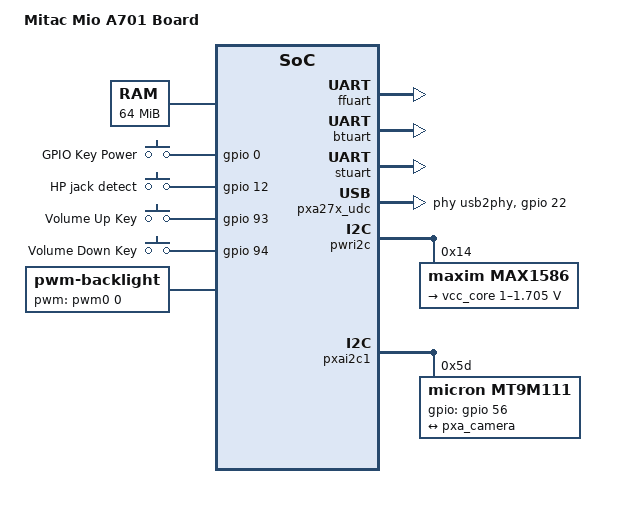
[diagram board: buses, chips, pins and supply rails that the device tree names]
/*
 *  Copyright (C) Robert Jarzmik <robert.jarzmik@free.fr>
 *
 *  This program is free software; you can redistribute it and/or modify
 *  it under the terms of the GNU General Public License version 2 as
 *  publishhed by the Free Software Foundation.
 */

/dts-v1/;
#include "pxa27x.dtsi"
#include "include/dt-bindings/gpio/gpio.h"
#include "include/dt-bindings/clock/pxa-clock.h"

/ {
	model = "Mitac Mio A701 Board";
	/* compatible = "mitac,mioa701"; */
	compatible = "marvell,pxa270";

	chosen {
		bootargs = "mtdparts=docg3.0:256k@3456k(barebox)ro,256k(barebox-logo),128k(barebox-env),4M(kernel),-(root) ubi.mtd=4 rootfstype=ubifs root=ubi0:linux_root ro";
	};

	memory {
		reg = <0xa0000000 0x04000000>;

		reserved-memory {
			#address-cells = <1>;
			#size-cells = <1>;

			pstore_region:region@0xa2000000 {
				compatible = "linux,contiguous-memory-region";
				reg = <0xa2000000 1048576>;
			};
		};
	};

	cpus {
		cpu {
			cpu-supply = <&vcc_core>;
		};
	};

	pxabus {
		gpio: gpio@40e00000 {
			status = "okay";
		};

		ffuart: uart@40100000 {
			status = "okay";
		};

		btuart: uart@40200000 {
			status = "okay";
		};

		stuart: uart@40700000 {
			status = "okay";
		};

		usb2phy: gpio-vbus@13 {
			compatible = "usb-nop-xceiv";
			vbus-detect-gpio = <&gpio 13 GPIO_ACTIVE_LOW>;
			wakeup;
		};

		pxa27x_udc: udc@40600000 {
			    status = "okay";
			    gpios = <&gpio 22 0>;
			    phys = <&usb2phy>;
			    phys-names = "usb2phy";
		};

		pwri2c: i2c@40f000180 {
			status = "okay";

			max1586@14 {
				compatible = "maxim,max1586";
				reg = <0x14>;
				v3-gain = <1000000>;

				regulators {
					vcc_core: v3 {
						regulator-name = "vcc_core";
						regulator-compatible = "Output_V3";
						regulator-min-microvolt = <1000000>;
						regulator-max-microvolt = <1705000>;
						regulator-always-on;
					};
				};
			};
		};

		pxai2c1: i2c@40301680 {
			mrvl,i2c-fast-mode;
			status = "okay";

			mt9m111: camera@5d {
				compatible = "micron,mt9m111";
				reg = <0x5d>;
				gpios = <&gpio 56 GPIO_ACTIVE_HIGH>;

				remote = <&pxa_camera>;
				port {
					mt9m111_1: endpoint {
						bus-width = <8>;
						remote-endpoint = <&pxa_camera>;
					};
				};
			};
		};

		keypad: keypad@41500000 {
			status = "okay";

			keypad,num-rows = <3>;
			keypad,num-columns = <3>;
			linux,keymap = <
				0x00000067	/* KEY_UP */
				0x0001006a	/* KEY_RIGHT */
				0x000200e2	/* KEY_MEDIA */
				0x0100006c	/* KEY_DOWN */
				0x0101001c	/* KEY_ENTER */
				0x010200da	/* KEY_CONNECT */
				0x02000069	/* KEY_LEFT */
				0x020100a9	/* KEY_PHONE */
				0x020200d4>;	/* KEY_CAMERA */
			marvell,debounce-interval = <0>;
		};

		gpio-keys {
			compatible = "gpio-keys";
			#address-cells = <1>;
			#size-cells = <0>;
			autorepeat;
			status = "okay";

			button@0 {
				label = "GPIO Key Power";
				linux,code = <174>;
				gpios = <&gpio 0 0>;
				gpio-key,wakeup;
			};
			button@12 {
				label = "HP jack detect";
				linux,code = <211>;
				gpios = <&gpio 12 0>;
			};
			button@93 {
				label = "Volume Up Key";
				linux,code = <115>;
				gpios = <&gpio 93 0>;
			};
			button@94 {
				label = "Volume Down Key";
				linux,code = <114>;
				gpios = <&gpio 94 0>;
			};
		};

		pxa_camera: pxa_camera@50000000 {
			compatible = "marvell,pxa270-qci";
			reg = <0x50000000 0x1000>;
			interrupts = <33>;

			clocks = <&clks CLK_CAMERA>;
			clock-names = "ciclk";
			clock-frequency = <5000000>;
			clock-output-names = "qci_mclk";

			status = "okay";

			port {
				#address-cells = <1>;
				#size-cells = <0>;

				/* Parallel bus endpoint */
				qci: endpoint@0 {
					reg = <0>;		/* Local endpoint # */
					remote-endpoint = <&mt9m111_1>;	/* Remote phandle */
					bus-width = <8>;	/* Used data lines */

					hsync-active = <0>;	/* Active low */
					vsync-active = <0>;	/* Active low */
					pclk-sample = <1>;	/* Rising */
				};
			};
		};
	};

	backlight {
		compatible = "pwm-backlight";
		pwms = <&pwm0 0 40960000>;
		pwm-names = "backlight";

		brightness-levels = <0 4 8 16 32 64 128 255>;
		default-brightness-level = <2>;
	};

	docg3: flash@0 {
		compatible = "m-systems,diskonchip-g3";
		reg = <0x0 0x2000>;
	};

};
